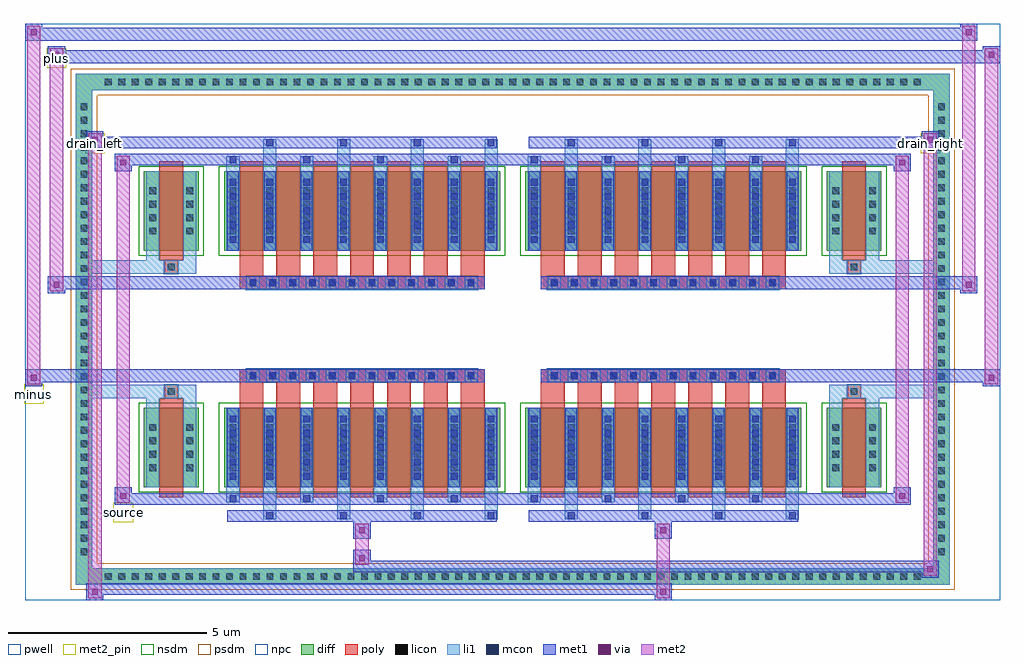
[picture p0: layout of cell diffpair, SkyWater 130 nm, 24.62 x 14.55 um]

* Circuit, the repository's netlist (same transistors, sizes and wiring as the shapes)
* NGSPICE file created from diffpair.ext - technology: sky130A

.subckt diffpair minus drain_right drain_left source plus
X0 a_n2204_n1288# a_n2204_n1288# a_n2204_n1288# a_n2204_n1288# sky130_fd_pr__nfet_01v8 ad=0.78 pd=4.78 as=6.24 ps=38.24 w=2 l=0.6
X1 drain_left plus source a_n2204_n1288# sky130_fd_pr__nfet_01v8 ad=0.33 pd=2.33 as=0.78 ps=4.78 w=2 l=0.6
X2 drain_right minus source a_n2204_n1288# sky130_fd_pr__nfet_01v8 ad=0.33 pd=2.33 as=0.33 ps=2.33 w=2 l=0.6
X3 source plus drain_left a_n2204_n1288# sky130_fd_pr__nfet_01v8 ad=0.33 pd=2.33 as=0.33 ps=2.33 w=2 l=0.6
X4 source plus drain_left a_n2204_n1288# sky130_fd_pr__nfet_01v8 ad=0.33 pd=2.33 as=0.33 ps=2.33 w=2 l=0.6
X5 source minus drain_right a_n2204_n1288# sky130_fd_pr__nfet_01v8 ad=0.33 pd=2.33 as=0.33 ps=2.33 w=2 l=0.6
X6 drain_right minus source a_n2204_n1288# sky130_fd_pr__nfet_01v8 ad=0.33 pd=2.33 as=0.33 ps=2.33 w=2 l=0.6
X7 drain_right minus source a_n2204_n1288# sky130_fd_pr__nfet_01v8 ad=0.78 pd=4.78 as=0.33 ps=2.33 w=2 l=0.6
X8 source minus drain_right a_n2204_n1288# sky130_fd_pr__nfet_01v8 ad=0.33 pd=2.33 as=0.33 ps=2.33 w=2 l=0.6
X9 drain_right minus source a_n2204_n1288# sky130_fd_pr__nfet_01v8 ad=0.78 pd=4.78 as=0.33 ps=2.33 w=2 l=0.6
X10 source minus drain_right a_n2204_n1288# sky130_fd_pr__nfet_01v8 ad=0.33 pd=2.33 as=0.33 ps=2.33 w=2 l=0.6
X11 drain_left plus source a_n2204_n1288# sky130_fd_pr__nfet_01v8 ad=0.33 pd=2.33 as=0.33 ps=2.33 w=2 l=0.6
X12 drain_left plus source a_n2204_n1288# sky130_fd_pr__nfet_01v8 ad=0.78 pd=4.78 as=0.33 ps=2.33 w=2 l=0.6
X13 drain_left plus source a_n2204_n1288# sky130_fd_pr__nfet_01v8 ad=0.33 pd=2.33 as=0.33 ps=2.33 w=2 l=0.6
X14 source plus drain_left a_n2204_n1288# sky130_fd_pr__nfet_01v8 ad=0.33 pd=2.33 as=0.33 ps=2.33 w=2 l=0.6
X15 source minus drain_right a_n2204_n1288# sky130_fd_pr__nfet_01v8 ad=0.33 pd=2.33 as=0.33 ps=2.33 w=2 l=0.6
X16 drain_right minus source a_n2204_n1288# sky130_fd_pr__nfet_01v8 ad=0.33 pd=2.33 as=0.33 ps=2.33 w=2 l=0.6
X17 source plus drain_left a_n2204_n1288# sky130_fd_pr__nfet_01v8 ad=0.33 pd=2.33 as=0.33 ps=2.33 w=2 l=0.6
X18 source minus drain_right a_n2204_n1288# sky130_fd_pr__nfet_01v8 ad=0.33 pd=2.33 as=0.33 ps=2.33 w=2 l=0.6
X19 a_n2204_n1288# a_n2204_n1288# a_n2204_n1288# a_n2204_n1288# sky130_fd_pr__nfet_01v8 ad=0.78 pd=4.78 as=0 ps=0 w=2 l=0.6
X20 drain_left plus source a_n2204_n1288# sky130_fd_pr__nfet_01v8 ad=0.33 pd=2.33 as=0.33 ps=2.33 w=2 l=0.6
X21 drain_right minus source a_n2204_n1288# sky130_fd_pr__nfet_01v8 ad=0.33 pd=2.33 as=0.78 ps=4.78 w=2 l=0.6
X22 drain_right minus source a_n2204_n1288# sky130_fd_pr__nfet_01v8 ad=0.33 pd=2.33 as=0.33 ps=2.33 w=2 l=0.6
X23 a_n2204_n1288# a_n2204_n1288# a_n2204_n1288# a_n2204_n1288# sky130_fd_pr__nfet_01v8 ad=0.78 pd=4.78 as=0 ps=0 w=2 l=0.6
X24 source plus drain_left a_n2204_n1288# sky130_fd_pr__nfet_01v8 ad=0.33 pd=2.33 as=0.33 ps=2.33 w=2 l=0.6
X25 drain_left plus source a_n2204_n1288# sky130_fd_pr__nfet_01v8 ad=0.78 pd=4.78 as=0.33 ps=2.33 w=2 l=0.6
X26 a_n2204_n1288# a_n2204_n1288# a_n2204_n1288# a_n2204_n1288# sky130_fd_pr__nfet_01v8 ad=0.78 pd=4.78 as=0 ps=0 w=2 l=0.6
X27 drain_right minus source a_n2204_n1288# sky130_fd_pr__nfet_01v8 ad=0.33 pd=2.33 as=0.78 ps=4.78 w=2 l=0.6
X28 source plus drain_left a_n2204_n1288# sky130_fd_pr__nfet_01v8 ad=0.33 pd=2.33 as=0.33 ps=2.33 w=2 l=0.6
X29 source minus drain_right a_n2204_n1288# sky130_fd_pr__nfet_01v8 ad=0.33 pd=2.33 as=0.33 ps=2.33 w=2 l=0.6
X30 drain_left plus source a_n2204_n1288# sky130_fd_pr__nfet_01v8 ad=0.33 pd=2.33 as=0.78 ps=4.78 w=2 l=0.6
X31 drain_left plus source a_n2204_n1288# sky130_fd_pr__nfet_01v8 ad=0.33 pd=2.33 as=0.33 ps=2.33 w=2 l=0.6
.ends

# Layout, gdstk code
import gdstk
lib = gdstk.Library(unit=1e-6, precision=5e-09)
def R(c, l, rs):  # rectangles x0, y0, x1, y1
    for r in rs: c.add(gdstk.rectangle(r[:2], r[2:], *l))
def A(c, l, x, y, w, h, nx, ny, dx, dy):  # array of equal rectangles
    R(c, l, [(x+i*dx, y+j*dy, x+i*dx+w, y+j*dy+h) for i in range(nx) for j in range(ny)])
def P(c, l, *ps):  # polygons
    for p in ps: c.add(gdstk.Polygon(p, *l))
pwell = (64, 44)
diff = (65, 20)
poly = (66, 20)
licon = (66, 44)
li1 = (67, 20)
mcon = (67, 44)
met1 = (68, 20)
via = (68, 44)
met2_pin = (69, 16)
met2 = (69, 20)
nsdm = (93, 44)
psdm = (94, 20)
npc = (95, 20)

diffpair = lib.new_cell('diffpair')
R(diffpair, pwell, [(-12.29,-6.84,12.29,7.71), (-9.61,-5.03,-0.01,-0.805), (0.01,-5.03,9.61,-0.805), (-9.61,0.805,-0.01,5.03), (0.01,0.805,9.61,5.03)])
A(diffpair, diff, -10.405, -6.44, 0.41, 0.41, 61, 2, 0.34, 12.47)
A(diffpair, diff, -11.02, -5.815, 0.41, 0.41, 1, 34, 0, 0.34)
A(diffpair, diff, 10.61, -5.815, 0.41, 0.41, 1, 34, 0, 0.34)
R(diffpair, diff, [(-10.405,-6.44,10.405,-6.03), (-11.02,-5.815,-10.61,5.815), (10.61,-5.815,11.02,5.815), (-9.3,-3.985,-7.92,-1.985), (-7.28,-3.985,-0.32,-1.985), (0.32,-3.985,7.28,-1.985), (7.92,-3.985,9.3,-1.985), (-9.3,1.985,-7.92,3.985), (-7.28,1.985,-0.32,3.985), (0.32,1.985,7.28,3.985), (7.92,1.985,9.3,3.985), (-10.405,6.03,10.405,6.44)])
P(diffpair, diff, [(11.02,6.44),(-11.02,6.44),(-11.02,-6.03),(-10.61,-6.03),(-10.61,6.03),(10.61,6.03),(10.61,-6.03),(-10.61,-6.03),(-11.02,-6.03),(-11.02,-6.44),(11.02,-6.44)])
A(diffpair, poly, -6.89, -4.235, 0.6, 2.5, 7, 2, 0.93, 5.97)
A(diffpair, poly, 0.71, -4.235, 0.6, 2.5, 7, 2, 0.93, 5.97)
A(diffpair, poly, -6.89, -1.735, 0.6, 0.4, 7, 2, 0.93, 3.07)
A(diffpair, poly, 0.71, -1.735, 0.6, 0.4, 7, 2, 0.93, 3.07)
A(diffpair, poly, -6.715, -1.335, 0.33, 0.33, 12, 2, 0.5, 2.34)
A(diffpair, poly, 0.885, -1.335, 0.33, 0.33, 12, 2, 0.5, 2.34)
R(diffpair, poly, [(-8.91,-4.235,-8.31,-1.735), (8.31,-4.235,8.91,-1.735), (-8.775,-1.735,-8.445,-1.405), (-8.775,-1.735,-8.445,-1.405), (8.445,-1.735,8.775,-1.405), (8.445,-1.735,8.775,-1.405), (-6.89,-1.335,-0.71,-1.005), (0.71,-1.335,6.89,-1.005), (-6.89,1.005,-0.71,1.335), (0.71,1.005,6.89,1.335), (-8.775,1.405,-8.445,1.735), (-8.775,1.405,-8.445,1.735), (8.445,1.405,8.775,1.735), (8.445,1.405,8.775,1.735), (-8.91,1.735,-8.31,4.235), (8.31,1.735,8.91,4.235)])
A(diffpair, licon, -10.285, -6.32, 0.17, 0.17, 61, 2, 0.34, 12.47)
A(diffpair, licon, -10.9, -5.695, 0.17, 0.17, 1, 34, 0, 0.34)
A(diffpair, licon, 10.73, -5.695, 0.17, 0.17, 1, 34, 0, 0.34)
A(diffpair, licon, -9.16, -3.58, 0.17, 0.17, 1, 4, 0, 0.34)
A(diffpair, licon, -8.23, -3.58, 0.17, 0.17, 1, 4, 0, 0.34)
A(diffpair, licon, -7.14, -3.58, 0.17, 0.17, 8, 4, 0.93, 0.34)
A(diffpair, licon, 0.46, -3.58, 0.17, 0.17, 8, 4, 0.93, 0.34)
A(diffpair, licon, 8.06, -3.58, 0.17, 0.17, 1, 4, 0, 0.34)
A(diffpair, licon, 8.99, -3.58, 0.17, 0.17, 1, 4, 0, 0.34)
A(diffpair, licon, -6.635, -1.255, 0.17, 0.17, 12, 2, 0.5, 2.34)
A(diffpair, licon, 0.965, -1.255, 0.17, 0.17, 12, 2, 0.5, 2.34)
A(diffpair, licon, -9.16, 2.39, 0.17, 0.17, 1, 4, 0, 0.34)
A(diffpair, licon, -8.23, 2.39, 0.17, 0.17, 1, 4, 0, 0.34)
A(diffpair, licon, -7.14, 2.39, 0.17, 0.17, 8, 4, 0.93, 0.34)
A(diffpair, licon, 0.46, 2.39, 0.17, 0.17, 8, 4, 0.93, 0.34)
A(diffpair, licon, 8.06, 2.39, 0.17, 0.17, 1, 4, 0, 0.34)
A(diffpair, licon, 8.99, 2.39, 0.17, 0.17, 1, 4, 0, 0.34)
R(diffpair, licon, [(-8.695,-1.655,-8.525,-1.485), (8.525,-1.655,8.695,-1.485), (-8.695,1.485,-8.525,1.655), (8.525,1.485,8.695,1.655)])
A(diffpair, li1, -10.365, -6.4, 0.33, 0.33, 61, 2, 0.34, 12.47)
A(diffpair, li1, -10.98, -5.775, 0.33, 0.33, 1, 34, 0, 0.34)
A(diffpair, li1, 10.65, -5.775, 0.33, 0.33, 1, 34, 0, 0.34)
A(diffpair, li1, -6.29, -4.79, 0.33, 0.805, 4, 2, 1.86, 8.775)
A(diffpair, li1, -6.21, -4.79, 0.17, 0.17, 4, 2, 1.86, 9.41)
A(diffpair, li1, 1.31, -4.79, 0.33, 0.805, 4, 2, 1.86, 8.775)
A(diffpair, li1, 1.39, -4.79, 0.17, 0.17, 4, 2, 1.86, 9.41)
A(diffpair, li1, -7.22, -4.36, 0.33, 0.375, 4, 2, 1.86, 8.345)
A(diffpair, li1, -7.14, -4.36, 0.17, 0.17, 4, 2, 1.86, 8.55)
A(diffpair, li1, 0.38, -4.36, 0.33, 0.375, 4, 2, 1.86, 8.345)
A(diffpair, li1, 0.46, -4.36, 0.17, 0.17, 4, 2, 1.86, 8.55)
A(diffpair, li1, -7.22, -3.985, 0.33, 2, 8, 2, 0.93, 5.97)
A(diffpair, li1, 0.38, -3.985, 0.33, 2, 8, 2, 0.93, 5.97)
A(diffpair, li1, -7.14, -3.79, 0.17, 0.17, 8, 5, 0.93, 0.36)
A(diffpair, li1, -7.14, -3.79, 0.17, 1.61, 8, 2, 0.93, 5.97)
A(diffpair, li1, 0.46, -3.79, 0.17, 0.17, 8, 5, 0.93, 0.36)
A(diffpair, li1, 0.46, -3.79, 0.17, 1.61, 8, 2, 0.93, 5.97)
A(diffpair, li1, -9.24, -3.66, 0.33, 0.33, 1, 4, 0, 0.34)
A(diffpair, li1, -8.31, -3.66, 0.33, 0.33, 1, 4, 0, 0.34)
A(diffpair, li1, -7.22, -3.66, 0.33, 0.33, 8, 4, 0.93, 0.34)
A(diffpair, li1, 0.38, -3.66, 0.33, 0.33, 8, 4, 0.93, 0.34)
A(diffpair, li1, 7.98, -3.66, 0.33, 0.33, 1, 4, 0, 0.34)
A(diffpair, li1, 8.91, -3.66, 0.33, 0.33, 1, 4, 0, 0.34)
A(diffpair, li1, -6.715, -1.335, 0.33, 0.33, 12, 2, 0.5, 2.34)
A(diffpair, li1, 0.885, -1.335, 0.33, 0.33, 12, 2, 0.5, 2.34)
A(diffpair, li1, -7.14, 2.18, 0.17, 0.17, 8, 5, 0.93, 0.36)
A(diffpair, li1, 0.46, 2.18, 0.17, 0.17, 8, 5, 0.93, 0.36)
A(diffpair, li1, -9.24, 2.31, 0.33, 0.33, 1, 4, 0, 0.34)
A(diffpair, li1, -8.31, 2.31, 0.33, 0.33, 1, 4, 0, 0.34)
A(diffpair, li1, -7.22, 2.31, 0.33, 0.33, 8, 4, 0.93, 0.34)
A(diffpair, li1, 0.38, 2.31, 0.33, 0.33, 8, 4, 0.93, 0.34)
A(diffpair, li1, 7.98, 2.31, 0.33, 0.33, 1, 4, 0, 0.34)
A(diffpair, li1, 8.91, 2.31, 0.33, 0.33, 1, 4, 0, 0.34)
R(diffpair, li1, [(-11.02,-6.44,-10.61,-6.03), (-11.02,-6.44,-10.61,-6.03), (-10.61,-6.44,10.61,-6.03), (10.61,-6.44,11.02,-6.03), (10.61,-6.44,11.02,-6.03), (-11.02,-6.03,-10.61,6.03), (10.61,-6.03,11.02,6.03), (-9.24,-3.985,-8.91,-1.985), (-8.31,-3.985,-7.98,-1.985), (7.98,-3.985,8.31,-1.985), (8.91,-3.985,9.24,-1.985), (-9.24,-1.985,-8.91,-1.405), (-8.31,-1.985,-7.98,-1.405), (7.98,-1.985,8.31,-1.405), (8.91,-1.985,9.24,-1.405), (-11.02,-1.735,-8.775,-1.405), (-9.24,-1.735,-8.775,-1.405), (-8.775,-1.735,-8.445,-1.405), (-8.445,-1.735,-7.98,-1.405), (7.98,-1.735,8.445,-1.405), (8.445,-1.735,8.775,-1.405), (8.445,-1.735,11.02,-1.405), (8.775,-1.735,9.24,-1.405), (-11.02,1.405,-8.775,1.735), (-9.24,1.405,-8.775,1.735), (-9.24,1.405,-8.91,1.985), (-8.775,1.405,-8.445,1.735), (-8.445,1.405,-7.98,1.735), (-8.31,1.405,-7.98,1.985), (7.98,1.405,8.445,1.735), (7.98,1.405,8.31,1.985), (8.445,1.405,8.775,1.735), (8.445,1.405,11.02,1.735), (8.775,1.405,9.24,1.735), (8.91,1.405,9.24,1.985), (-9.24,1.985,-8.91,3.985), (-8.31,1.985,-7.98,3.985), (7.98,1.985,8.31,3.985), (8.91,1.985,9.24,3.985), (-11.02,6.03,-10.61,6.44), (-11.02,6.03,-10.61,6.44), (-10.61,6.03,10.61,6.44), (10.61,6.03,11.02,6.44), (10.61,6.03,11.02,6.44)])
A(diffpair, mcon, -6.21, -4.79, 0.17, 0.17, 4, 2, 1.86, 9.41)
A(diffpair, mcon, 1.39, -4.79, 0.17, 0.17, 4, 2, 1.86, 9.41)
A(diffpair, mcon, -7.14, -4.36, 0.17, 0.17, 4, 2, 1.86, 8.55)
A(diffpair, mcon, 0.46, -4.36, 0.17, 0.17, 4, 2, 1.86, 8.55)
A(diffpair, mcon, -7.14, -3.79, 0.17, 0.17, 8, 5, 0.93, 0.36)
A(diffpair, mcon, 0.46, -3.79, 0.17, 0.17, 8, 5, 0.93, 0.36)
A(diffpair, mcon, -6.635, -1.255, 0.17, 0.17, 12, 2, 0.5, 2.34)
A(diffpair, mcon, 0.965, -1.255, 0.17, 0.17, 12, 2, 0.5, 2.34)
A(diffpair, mcon, -7.14, 2.18, 0.17, 0.17, 8, 5, 0.93, 0.36)
A(diffpair, mcon, 0.46, 2.18, 0.17, 0.17, 8, 5, 0.93, 0.36)
A(diffpair, met1, -6.27, -4.85, 0.29, 0.29, 4, 2, 1.86, 9.41)
A(diffpair, met1, 1.33, -4.85, 0.29, 0.29, 4, 2, 1.86, 9.41)
A(diffpair, met1, -7.2, -4.42, 0.29, 0.29, 4, 2, 1.86, 8.55)
A(diffpair, met1, 0.4, -4.42, 0.29, 0.29, 4, 2, 1.86, 8.55)
A(diffpair, met1, -7.2, -3.985, 0.29, 2, 8, 2, 0.93, 5.97)
A(diffpair, met1, 0.4, -3.985, 0.29, 2, 8, 2, 0.93, 5.97)
A(diffpair, met1, -7.2, -3.85, 0.29, 0.29, 8, 5, 0.93, 0.36)
A(diffpair, met1, 0.4, -3.85, 0.29, 0.29, 8, 5, 0.93, 0.36)
A(diffpair, met1, -6.695, -1.315, 0.29, 0.29, 12, 2, 0.5, 2.34)
A(diffpair, met1, 0.905, -1.315, 0.29, 0.29, 12, 2, 0.5, 2.34)
A(diffpair, met1, -7.2, 2.12, 0.29, 0.29, 8, 5, 0.93, 0.36)
A(diffpair, met1, 0.4, 2.12, 0.29, 0.29, 8, 5, 0.93, 0.36)
R(diffpair, met1, [(-10.75,-6.84,-10.32,-6.41), (3.585,-6.84,4.015,-6.41), (-10.75,-6.7,4.015,-6.41), (10.32,-6.27,10.75,-5.84), (-4.015,-6.13,10.75,-5.84), (-4.015,-5.99,-3.585,-5.56), (-4.015,-5.28,-3.585,-4.85), (3.585,-5.28,4.015,-4.85), (-7.2,-4.85,-0.4,-4.56), (0.4,-4.85,7.2,-4.56), (-10.04,-4.42,-9.61,-3.99), (-10.04,-4.42,-7.2,-4.13), (-7.2,-4.42,-0.4,-4.13), (-0.4,-4.42,0.4,-4.13), (0.4,-4.42,7.2,-4.13), (7.2,-4.42,10.04,-4.13), (9.61,-4.42,10.04,-3.99), (-12.29,-1.435,-11.86,-1.005), (11.86,-1.435,12.29,-1.005), (-12.29,-1.335,-0.71,-1.005), (-6.89,-1.335,-0.71,-1.005), (0.71,-1.335,6.89,-1.005), (0.71,-1.335,12.29,-1.005), (-11.72,0.905,-11.29,1.335), (11.29,0.905,11.72,1.335), (-11.72,1.005,-6.89,1.335), (-6.89,1.005,-0.71,1.335), (0.71,1.005,6.89,1.335), (6.89,1.005,11.72,1.335), (-10.04,3.99,-9.61,4.42), (9.61,3.99,10.04,4.42), (-10.04,4.13,-7.2,4.42), (-7.2,4.13,-0.4,4.42), (-0.4,4.13,0.4,4.42), (0.4,4.13,7.2,4.42), (7.2,4.13,10.04,4.42), (-10.75,4.56,-10.32,4.99), (-10.75,4.56,-7.2,4.85), (-7.2,4.56,-0.4,4.85), (0.4,4.56,7.2,4.85), (7.2,4.56,10.75,4.85), (10.32,4.56,10.75,4.99), (-11.72,6.71,-11.29,7.14), (-11.72,6.71,-9.61,7.04), (-9.61,6.71,9.61,7.04), (9.61,6.71,12.29,7.04), (11.86,6.71,12.29,7.14), (-12.29,7.28,-11.86,7.71), (-12.29,7.28,-9.61,7.61), (-9.61,7.28,9.61,7.61), (9.61,7.28,11.72,7.61), (11.29,7.28,11.72,7.71)])
R(diffpair, via, [(-10.61,-6.7,-10.46,-6.55), (3.725,-6.7,3.875,-6.55), (10.46,-6.13,10.61,-5.98), (-3.875,-5.85,-3.725,-5.7), (-3.875,-5.14,-3.725,-4.99), (3.725,-5.14,3.875,-4.99), (-9.9,-4.28,-9.75,-4.13), (9.75,-4.28,9.9,-4.13), (-12.15,-1.295,-12,-1.145), (12,-1.295,12.15,-1.145), (-11.58,1.045,-11.43,1.195), (11.43,1.045,11.58,1.195), (-9.9,4.13,-9.75,4.28), (9.75,4.13,9.9,4.28), (-10.61,4.7,-10.46,4.85), (10.46,4.7,10.61,4.85), (-11.58,6.85,-11.43,7), (12,6.85,12.15,7), (-12.15,7.42,-12,7.57), (11.43,7.42,11.58,7.57)])
R(diffpair, met2_pin, [(-10.075,-4.87,-9.575,-4.37), (-12.325,-1.885,-11.825,-1.385), (-10.785,4.44,-10.285,4.94), (10.285,4.44,10.785,4.94), (-11.755,6.59,-11.255,7.09)])
R(diffpair, met2, [(-10.7,-6.79,-10.37,-6.46), (-10.7,-6.79,-10.37,4.94), (3.635,-6.79,3.965,-6.46), (3.635,-6.46,3.965,-5.23), (10.37,-6.22,10.7,-5.89), (10.37,-6.22,10.7,4.94), (-3.965,-5.94,-3.635,-5.61), (-3.965,-5.61,-3.635,-5.23), (-3.965,-5.23,-3.635,-4.9), (3.635,-5.23,3.965,-4.9), (-9.99,-4.37,-9.66,-4.04), (-9.99,-4.37,-9.66,4.37), (9.66,-4.37,9.99,-4.04), (9.66,-4.37,9.99,4.37), (-12.24,-1.385,-11.91,-1.055), (-12.24,-1.385,-11.91,7.66), (11.91,-1.385,12.24,-1.055), (11.91,-1.385,12.24,7.09), (-11.67,0.955,-11.34,1.285), (-11.67,0.955,-11.34,7.09), (11.34,0.955,11.67,1.285), (11.34,0.955,11.67,7.66), (-9.99,4.04,-9.66,4.37), (9.66,4.04,9.99,4.37), (-10.7,4.61,-10.37,4.94), (10.37,4.61,10.7,4.94), (-11.67,6.76,-11.34,7.09), (11.91,6.76,12.24,7.09), (-12.24,7.33,-11.91,7.66), (11.34,7.33,11.67,7.66)])
P(diffpair, met2, [(12.24,-1.385),(12.24,-1.385),(12.24,-1.055),(12.24,-1.055)],
  [(12.24,6.76),(12.24,6.76),(12.24,7.09),(12.24,7.09)],
  [(-11.91,-1.385),(-11.91,-1.385),(-11.91,-1.055),(-11.91,-1.055)],
  [(-11.91,7.33),(-11.91,7.33),(-11.91,7.66),(-11.91,7.66)],
  [(11.67,0.955),(11.67,0.955),(11.67,1.285),(11.67,1.285)],
  [(11.67,7.33),(11.67,7.33),(11.67,7.66),(11.67,7.66)],
  [(-11.34,0.955),(-11.34,0.955),(-11.34,1.285),(-11.34,1.285)],
  [(-11.34,6.76),(-11.34,6.76),(-11.34,7.09),(-11.34,7.09)],
  [(-10.37,-6.79),(-10.37,-6.79),(-10.37,-6.46),(-10.37,-6.46)],
  [(-10.37,4.61),(-10.37,4.61),(-10.37,4.94),(-10.37,4.94)],
  [(10.7,-6.22),(10.7,-6.22),(10.7,-5.89),(10.7,-5.89)],
  [(10.7,4.61),(10.7,4.61),(10.7,4.94),(10.7,4.94)],
  [(-9.66,-4.37),(-9.66,-4.37),(-9.66,-4.04),(-9.66,-4.04)],
  [(-9.66,4.04),(-9.66,4.04),(-9.66,4.37),(-9.66,4.37)],
  [(9.99,-4.37),(9.99,-4.37),(9.99,-4.04),(9.99,-4.04)],
  [(9.99,4.04),(9.99,4.04),(9.99,4.37),(9.99,4.37)])
R(diffpair, nsdm, [(-9.43,-4.115,-7.79,-1.855), (-7.41,-4.115,-0.19,-1.855), (0.19,-4.115,7.41,-1.855), (7.79,-4.115,9.43,-1.855), (-9.43,1.855,-7.79,4.115), (-7.41,1.855,-0.19,4.115), (0.19,1.855,7.41,4.115), (7.79,1.855,9.43,4.115)])
P(diffpair, psdm, [(11.15,6.57),(-11.15,6.57),(-11.15,-5.9),(-10.48,-5.9),(-10.48,5.9),(10.48,5.9),(10.48,-5.9),(-10.48,-5.9),(-11.15,-5.9),(-11.15,-6.57),(11.15,-6.57)])
A(diffpair, npc, -6.735, -1.355, 0.37, 0.37, 12, 2, 0.5, 2.34)
A(diffpair, npc, 0.865, -1.355, 0.37, 0.37, 12, 2, 0.5, 2.34)
R(diffpair, npc, [(-8.795,-1.755,-8.425,-1.385), (8.425,-1.755,8.795,-1.385), (-6.735,-1.355,-5.865,-0.985), (-6.735,-1.355,-5.865,-0.985), (-6.235,-1.355,-5.365,-0.985), (-6.235,-1.355,-5.365,-0.985), (-5.735,-1.355,-4.865,-0.985), (-5.735,-1.355,-4.865,-0.985), (-5.235,-1.355,-4.365,-0.985), (-5.235,-1.355,-4.365,-0.985), (-4.735,-1.355,-3.865,-0.985), (-4.735,-1.355,-3.865,-0.985), (-4.235,-1.355,-3.365,-0.985), (-4.235,-1.355,-3.365,-0.985), (-3.735,-1.355,-2.865,-0.985), (-3.735,-1.355,-2.865,-0.985), (-3.235,-1.355,-2.365,-0.985), (-3.235,-1.355,-2.365,-0.985), (-2.735,-1.355,-1.865,-0.985), (-2.735,-1.355,-1.865,-0.985), (-2.235,-1.355,-1.365,-0.985), (-2.235,-1.355,-1.365,-0.985), (-1.735,-1.355,-0.865,-0.985), (-1.735,-1.355,-0.865,-0.985), (0.865,-1.355,1.735,-0.985), (0.865,-1.355,1.735,-0.985), (1.365,-1.355,2.235,-0.985), (1.365,-1.355,2.235,-0.985), (1.865,-1.355,2.735,-0.985), (1.865,-1.355,2.735,-0.985), (2.365,-1.355,3.235,-0.985), (2.365,-1.355,3.235,-0.985), (2.865,-1.355,3.735,-0.985), (2.865,-1.355,3.735,-0.985), (3.365,-1.355,4.235,-0.985), (3.365,-1.355,4.235,-0.985), (3.865,-1.355,4.735,-0.985), (3.865,-1.355,4.735,-0.985), (4.365,-1.355,5.235,-0.985), (4.365,-1.355,5.235,-0.985), (4.865,-1.355,5.735,-0.985), (4.865,-1.355,5.735,-0.985), (5.365,-1.355,6.235,-0.985), (5.365,-1.355,6.235,-0.985), (5.865,-1.355,6.735,-0.985), (5.865,-1.355,6.735,-0.985), (-6.735,0.985,-5.865,1.355), (-6.735,0.985,-5.865,1.355), (-6.235,0.985,-5.365,1.355), (-6.235,0.985,-5.365,1.355), (-5.735,0.985,-4.865,1.355), (-5.735,0.985,-4.865,1.355), (-5.235,0.985,-4.365,1.355), (-5.235,0.985,-4.365,1.355), (-4.735,0.985,-3.865,1.355), (-4.735,0.985,-3.865,1.355), (-4.235,0.985,-3.365,1.355), (-4.235,0.985,-3.365,1.355), (-3.735,0.985,-2.865,1.355), (-3.735,0.985,-2.865,1.355), (-3.235,0.985,-2.365,1.355), (-3.235,0.985,-2.365,1.355), (-2.735,0.985,-1.865,1.355), (-2.735,0.985,-1.865,1.355), (-2.235,0.985,-1.365,1.355), (-2.235,0.985,-1.365,1.355), (-1.735,0.985,-0.865,1.355), (-1.735,0.985,-0.865,1.355), (0.865,0.985,1.735,1.355), (0.865,0.985,1.735,1.355), (1.365,0.985,2.235,1.355), (1.365,0.985,2.235,1.355), (1.865,0.985,2.735,1.355), (1.865,0.985,2.735,1.355), (2.365,0.985,3.235,1.355), (2.365,0.985,3.235,1.355), (2.865,0.985,3.735,1.355), (2.865,0.985,3.735,1.355), (3.365,0.985,4.235,1.355), (3.365,0.985,4.235,1.355), (3.865,0.985,4.735,1.355), (3.865,0.985,4.735,1.355), (4.365,0.985,5.235,1.355), (4.365,0.985,5.235,1.355), (4.865,0.985,5.735,1.355), (4.865,0.985,5.735,1.355), (5.365,0.985,6.235,1.355), (5.365,0.985,6.235,1.355), (5.865,0.985,6.735,1.355), (5.865,0.985,6.735,1.355), (-8.795,1.385,-8.425,1.755), (8.425,1.385,8.795,1.755)])
diffpair.add(gdstk.Label('minus', (-12.075,-1.635), layer=69, texttype=5))
diffpair.add(gdstk.Label('drain_right', (10.535,4.69), layer=69, texttype=5))
diffpair.add(gdstk.Label('drain_left', (-10.535,4.69), layer=69, texttype=5))
diffpair.add(gdstk.Label('source', (-9.825,-4.62), layer=69, texttype=5))
diffpair.add(gdstk.Label('plus', (-11.505,6.84), layer=69, texttype=5))

lib.write_gds('diffpair.gds')
